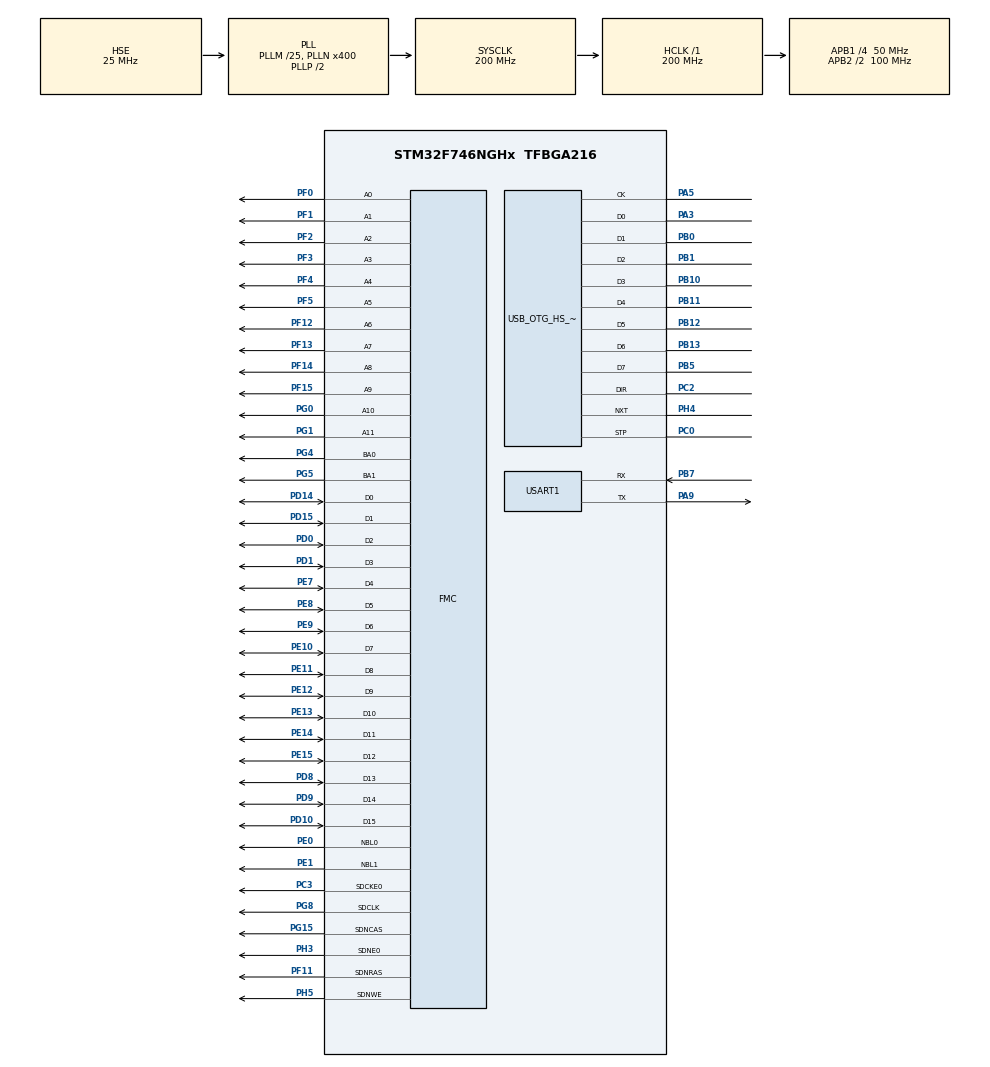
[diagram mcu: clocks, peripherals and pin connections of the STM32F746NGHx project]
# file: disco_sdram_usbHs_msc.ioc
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CORTEX_M7.ART_ACCELERATOR_ENABLE=0
CORTEX_M7.AccessPermission-Cortex_Memory_Protection_Unit_Region0_Settings=MPU_REGION_NO_ACCESS
CORTEX_M7.AccessPermission-Cortex_Memory_Protection_Unit_Region1_Settings=MPU_REGION_FULL_ACCESS
CORTEX_M7.AccessPermission-Cortex_Memory_Protection_Unit_Region2_Settings=MPU_REGION_FULL_ACCESS
CORTEX_M7.BaseAddress-Cortex_Memory_Protection_Unit_Region0_Settings=0x00
CORTEX_M7.BaseAddress-Cortex_Memory_Protection_Unit_Region1_Settings=0xC0000000
CORTEX_M7.BaseAddress-Cortex_Memory_Protection_Unit_Region2_Settings=0xA0000000
CORTEX_M7.CPU_DCache=Enabled
CORTEX_M7.CPU_ICache=Enabled
CORTEX_M7.DisableExec-Cortex_Memory_Protection_Unit_Region0_Settings=MPU_INSTRUCTION_ACCESS_DISABLE
CORTEX_M7.DisableExec-Cortex_Memory_Protection_Unit_Region1_Settings=MPU_INSTRUCTION_ACCESS_ENABLE
CORTEX_M7.DisableExec-Cortex_Memory_Protection_Unit_Region2_Settings=MPU_INSTRUCTION_ACCESS_DISABLE
CORTEX_M7.Enable-Cortex_Memory_Protection_Unit_Region0_Settings=MPU_REGION_ENABLE
CORTEX_M7.Enable-Cortex_Memory_Protection_Unit_Region1_Settings=MPU_REGION_ENABLE
CORTEX_M7.Enable-Cortex_Memory_Protection_Unit_Region2_Settings=MPU_REGION_ENABLE
CORTEX_M7.IsBufferable-Cortex_Memory_Protection_Unit_Region1_Settings=MPU_ACCESS_BUFFERABLE
CORTEX_M7.IsBufferable-Cortex_Memory_Protection_Unit_Region2_Settings=MPU_ACCESS_BUFFERABLE
CORTEX_M7.IsCacheable-Cortex_Memory_Protection_Unit_Region0_Settings=MPU_ACCESS_NOT_CACHEABLE
CORTEX_M7.IsCacheable-Cortex_Memory_Protection_Unit_Region1_Settings=MPU_ACCESS_CACHEABLE
CORTEX_M7.IsShareable-Cortex_Memory_Protection_Unit_Region0_Settings=MPU_ACCESS_SHAREABLE
CORTEX_M7.IsShareable-Cortex_Memory_Protection_Unit_Region2_Settings=MPU_ACCESS_SHAREABLE
CORTEX_M7.MPU_Control=MPU_PRIVILEGED_DEFAULT
CORTEX_M7.Size-Cortex_Memory_Protection_Unit_Region0_Settings=MPU_REGION_SIZE_4GB
CORTEX_M7.Size-Cortex_Memory_Protection_Unit_Region1_Settings=MPU_REGION_SIZE_16MB
CORTEX_M7.Size-Cortex_Memory_Protection_Unit_Region2_Settings=MPU_REGION_SIZE_8KB
CORTEX_M7.SubRegionDisable-Cortex_Memory_Protection_Unit_Region0_Settings=0x87
CORTEX_M7.SubRegionDisable-Cortex_Memory_Protection_Unit_Region1_Settings=0x00
CORTEX_M7.TypeExtField-Cortex_Memory_Protection_Unit_Region1_Settings=MPU_TEX_LEVEL1
FMC.CASLatency1=FMC_SDRAM_CAS_LATENCY_2
FMC.ExitSelfRefreshDelay1=6
FMC.LoadToActiveDelay1=2
FMC.RCDDelay1=2
FMC.RPDelay1=2
FMC.ReadBurst1=FMC_SDRAM_RBURST_ENABLE
FMC.ReadBurst2=FMC_SDRAM_RBURST_ENABLE
FMC.RowCycleDelay1=6
FMC.SDClockPeriod1=FMC_SDRAM_CLOCK_PERIOD_2
FMC.SDClockPeriod2=FMC_SDRAM_CLOCK_PERIOD_2
FMC.SelfRefreshTime1=4
FMC.WriteRecoveryTime1=2
Mcu.Family=STM32F7
Mcu.Name=STM32F746NGHx
Mcu.Package=TFBGA216
NVIC.FMC_IRQn=true\:0\:0\:false\:false\:true\:true\:true\:true
NVIC.OTG_HS_IRQn=true\:0\:0\:false\:false\:true\:false\:true\:true
NVIC.PriorityGroup=NVIC_PRIORITYGROUP_4
NVIC.TIM6_DAC_IRQn=true\:15\:0\:false\:false\:true\:false\:true\:true
NVIC.TimeBase=TIM6_DAC_IRQn
NVIC.TimeBaseIP=TIM6
NVIC.USART1_IRQn=true\:0\:0\:false\:false\:true\:true\:true\:true
PA13.Mode=Serial_Wire
PA13.Signal=SYS_JTMS-SWDIO
PA14.Mode=Serial_Wire
PA14.Signal=SYS_JTCK-SWCLK
PA3.Mode=Device_HS
PA3.Signal=USB_OTG_HS_ULPI_D0
PA5.Mode=Device_HS
PA5.Signal=USB_OTG_HS_ULPI_CK
PA9.Mode=Asynchronous
PA9.Signal=USART1_TX
PB0.Mode=Device_HS
PB0.Signal=USB_OTG_HS_ULPI_D1
PB1.Mode=Device_HS
PB1.Signal=USB_OTG_HS_ULPI_D2
PB10.Mode=Device_HS
PB10.Signal=USB_OTG_HS_ULPI_D3
PB11.Mode=Device_HS
PB11.Signal=USB_OTG_HS_ULPI_D4
PB12.Mode=Device_HS
PB12.Signal=USB_OTG_HS_ULPI_D5
PB13.Mode=Device_HS
PB13.Signal=USB_OTG_HS_ULPI_D6
PB5.Mode=Device_HS
PB5.Signal=USB_OTG_HS_ULPI_D7
PB7.Mode=Asynchronous
PB7.Signal=USART1_RX
PC0.Mode=Device_HS
PC0.Signal=USB_OTG_HS_ULPI_STP
PC14/OSC32_IN.Mode=LSE-External-Oscillator
PC14/OSC32_IN.Signal=RCC_OSC32_IN
PC15/OSC32_OUT.Mode=LSE-External-Oscillator
PC15/OSC32_OUT.Signal=RCC_OSC32_OUT
PC2.Mode=Device_HS
PC2.Signal=USB_OTG_HS_ULPI_DIR
PC3.Mode=SdramChipSelect1_1
PC3.Signal=FMC_SDCKE0
PD0.Signal=FMC_D2_DA2
PD1.Signal=FMC_D3_DA3
PD10.Signal=FMC_D15_DA15
PD14.Signal=FMC_D0_DA0
PD15.Signal=FMC_D1_DA1
PD8.Signal=FMC_D13_DA13
PD9.Signal=FMC_D14_DA14
PE0.Signal=FMC_NBL0
PE1.Signal=FMC_NBL1
PE10.Signal=FMC_D7_DA7
PE11.Signal=FMC_D8_DA8
PE12.Signal=FMC_D9_DA9
PE13.Signal=FMC_D10_DA10
PE14.Signal=FMC_D11_DA11
PE15.Signal=FMC_D12_DA12
PE7.Signal=FMC_D4_DA4
PE8.Signal=FMC_D5_DA5
PE9.Signal=FMC_D6_DA6
PF0.Signal=FMC_A0
PF1.Signal=FMC_A1
PF11.Signal=FMC_SDNRAS
PF12.Signal=FMC_A6
PF13.Signal=FMC_A7
PF14.Signal=FMC_A8
PF15.Signal=FMC_A9
PF2.Signal=FMC_A2
PF3.Signal=FMC_A3
PF4.Signal=FMC_A4
PF5.Signal=FMC_A5
PG0.Signal=FMC_A10
PG1.Signal=FMC_A11
PG15.Signal=FMC_SDNCAS
PG4.Signal=FMC_A14_BA0
PG5.Signal=FMC_A15_BA1
PG8.Signal=FMC_SDCLK
PH0/OSC_IN.Mode=HSE-External-Oscillator
PH0/OSC_IN.Signal=RCC_OSC_IN
PH1/OSC_OUT.Mode=HSE-External-Oscillator
PH1/OSC_OUT.Signal=RCC_OSC_OUT
PH3.Mode=SdramChipSelect1_1
PH3.Signal=FMC_SDNE0
PH4.Mode=Device_HS
PH4.Signal=USB_OTG_HS_ULPI_NXT
PH5.Signal=FMC_SDNWE
ProjectManager.HeapSize=0x200
ProjectManager.StackSize=0x400
ProjectManager.TargetToolchain=STM32CubeIDE
RCC.AHBFreq_Value=200000000
RCC.APB1CLKDivider=RCC_HCLK_DIV4
RCC.APB1Freq_Value=50000000
RCC.APB1TimFreq_Value=100000000
RCC.APB2CLKDivider=RCC_HCLK_DIV2
RCC.APB2Freq_Value=100000000
RCC.APB2TimFreq_Value=200000000
RCC.CortexFreq_Value=200000000
RCC.HCLKFreq_Value=200000000
RCC.HSE_VALUE=25000000
RCC.HSI_VALUE=16000000
RCC.PLL48CLockSelection=RCC_CLK48SOURCE_PLLSAIP
RCC.PLLI2SN=100
RCC.PLLM=25
RCC.PLLN=400
RCC.PLLQ=9
RCC.PLLSAIN=384
RCC.PLLSAIP=RCC_PLLSAIP_DIV8
RCC.PLLSAIR=5
RCC.PLLSAIRDiv=RCC_PLLSAIDIVR_8
RCC.PLLSourceVirtual=RCC_PLLSOURCE_HSE
RCC.SDMMCClockSelection=RCC_SDMMC1CLKSOURCE_CLK48
RCC.SYSCLKFreq_VALUE=200000000
RCC.SYSCLKSource=RCC_SYSCLKSOURCE_PLLCLK
RCC.USBFreq_Value=48000000
RCC.VCOOutputFreq_Value=400000000
SH.FMC_A0.0=FMC_A0,12b-sda1
SH.FMC_A1.0=FMC_A1,12b-sda1
SH.FMC_A10.0=FMC_A10,12b-sda1
SH.FMC_A11.0=FMC_A11,12b-sda1
SH.FMC_A14_BA0.0=FMC_BA0,FourSdramBanks1
SH.FMC_A15_BA1.0=FMC_BA1,FourSdramBanks1
SH.FMC_A2.0=FMC_A2,12b-sda1
SH.FMC_A3.0=FMC_A3,12b-sda1
SH.FMC_A4.0=FMC_A4,12b-sda1
SH.FMC_A5.0=FMC_A5,12b-sda1
SH.FMC_A6.0=FMC_A6,12b-sda1
SH.FMC_A7.0=FMC_A7,12b-sda1
SH.FMC_A8.0=FMC_A8,12b-sda1
SH.FMC_A9.0=FMC_A9,12b-sda1
SH.FMC_D0_DA0.0=FMC_D0,sd-16b-d1
SH.FMC_D10_DA10.0=FMC_D10,sd-16b-d1
SH.FMC_D11_DA11.0=FMC_D11,sd-16b-d1
SH.FMC_D12_DA12.0=FMC_D12,sd-16b-d1
SH.FMC_D13_DA13.0=FMC_D13,sd-16b-d1
SH.FMC_D14_DA14.0=FMC_D14,sd-16b-d1
SH.FMC_D15_DA15.0=FMC_D15,sd-16b-d1
SH.FMC_D1_DA1.0=FMC_D1,sd-16b-d1
SH.FMC_D2_DA2.0=FMC_D2,sd-16b-d1
SH.FMC_D3_DA3.0=FMC_D3,sd-16b-d1
SH.FMC_D4_DA4.0=FMC_D4,sd-16b-d1
SH.FMC_D5_DA5.0=FMC_D5,sd-16b-d1
SH.FMC_D6_DA6.0=FMC_D6,sd-16b-d1
SH.FMC_D7_DA7.0=FMC_D7,sd-16b-d1
SH.FMC_D8_DA8.0=FMC_D8,sd-16b-d1
SH.FMC_D9_DA9.0=FMC_D9,sd-16b-d1
SH.FMC_NBL0.0=FMC_NBL0,Sd2ByteEnable1
SH.FMC_NBL1.0=FMC_NBL1,Sd2ByteEnable1
SH.FMC_SDCLK.0=FMC_SDCLK,12b-sda1
SH.FMC_SDNCAS.0=FMC_SDNCAS,12b-sda1
SH.FMC_SDNRAS.0=FMC_SDNRAS,12b-sda1
SH.FMC_SDNWE.0=FMC_SDNWE,12b-sda1
USART1.VirtualMode-Asynchronous=VM_ASYNC
USB_DEVICE.CLASS_NAME_HS=MSC
USB_DEVICE.VirtualMode-MSC_HS=Msc
USB_DEVICE.VirtualModeHS=Msc_HS
USB_OTG_HS.VirtualMode-Device_HS=Device_HS
VP_SYS_VS_tim6.Mode=TIM6
VP_USB_DEVICE_VS_USB_DEVICE_MSC_HS.Mode=MSC_HS
board=STM32F746G-DISCO

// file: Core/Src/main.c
/* USER CODE BEGIN Header */
/**
  ******************************************************************************
  * @file           : main.c
  * @brief          : Main program body
  ******************************************************************************
  * @attention
  *
  * Copyright (c) 2025 STMicroelectronics.
  * All rights reserved.
  *
  * This software is licensed under terms that can be found in the LICENSE file
  * in the root directory of this software component.
  * If no LICENSE file comes with this software, it is provided AS-IS.
  *
  ******************************************************************************
  */
/* USER CODE END Header */
#include "main.h"
#include "usb_device.h"

/* USER CODE BEGIN Includes */
#include <stdio.h>
#include <string.h>
/* USER CODE END Includes */

UART_HandleTypeDef huart1;

SDRAM_HandleTypeDef hsdram1;

/* USER CODE BEGIN PV */
FMC_SDRAM_CommandTypeDef command;
/* USER CODE END PV */

void SystemClock_Config(void);
static void MPU_Config(void);
static void MX_GPIO_Init(void);
static void MX_FMC_Init(void);
static void MX_USART1_UART_Init(void);
/* USER CODE BEGIN PFP */
static void BSP_SDRAM_Initialization_Sequence(SDRAM_HandleTypeDef *hsdram, FMC_SDRAM_CommandTypeDef *Command);

/* USER CODE END PFP */

/* USER CODE BEGIN 0 */
int _write(int file, char *ptr, int len) {
    for (int i = 0; i < len; i++) {
        HAL_UART_Transmit(&huart1, (uint8_t *)&ptr[i], 1, HAL_MAX_DELAY);
    }
    return len;
}

/* USER CODE END 0 */

int main(void)
{

  /* MPU Configuration--------------------------------------------------------*/
  MPU_Config();

  /* Enable the CPU Cache */

  /* Enable I-Cache---------------------------------------------------------*/
  SCB_EnableICache();

  /* Enable D-Cache---------------------------------------------------------*/
  SCB_EnableDCache();

  /* MCU Configuration--------------------------------------------------------*/

  /* Reset of all peripherals, Initializes the Flash interface and the Systick. */
  HAL_Init();

  /* Configure the system clock */
  SystemClock_Config();

  /* Initialize all configured peripherals */
  MX_GPIO_Init();
  MX_FMC_Init();
  MX_USART1_UART_Init();
  MX_USB_DEVICE_Init();
  /* USER CODE BEGIN 2 */
  BSP_SDRAM_Initialization_Sequence(&hsdram1, &command);
  setvbuf(stdout, NULL, _IONBF, 0);
  printf("usbHs_msc_Sdram\r\n");

  /* USER CODE END 2 */

  /* Infinite loop */
  while (1)
  {

  }
}

void SystemClock_Config(void)
{
  RCC_OscInitTypeDef RCC_OscInitStruct = {0};
  RCC_ClkInitTypeDef RCC_ClkInitStruct = {0};

  /** Configure LSE Drive Capability
  */
  HAL_PWR_EnableBkUpAccess();

  /** Configure the main internal regulator output voltage
  */
  __HAL_RCC_PWR_CLK_ENABLE();
  __HAL_PWR_VOLTAGESCALING_CONFIG(PWR_REGULATOR_VOLTAGE_SCALE1);

  /** Initializes the RCC Oscillators according to the specified parameters
  * in the RCC_OscInitTypeDef structure.
  */
  RCC_OscInitStruct.OscillatorType = RCC_OSCILLATORTYPE_HSE;
  RCC_OscInitStruct.HSEState = RCC_HSE_ON;
  RCC_OscInitStruct.PLL.PLLState = RCC_PLL_ON;
  RCC_OscInitStruct.PLL.PLLSource = RCC_PLLSOURCE_HSE;
  RCC_OscInitStruct.PLL.PLLM = 25;
  RCC_OscInitStruct.PLL.PLLN = 400;
  RCC_OscInitStruct.PLL.PLLP = RCC_PLLP_DIV2;
  RCC_OscInitStruct.PLL.PLLQ = 9;
  if (HAL_RCC_OscConfig(&RCC_OscInitStruct) != HAL_OK)
  {
    Error_Handler();
  }

  /** Activate the Over-Drive mode
  */
  if (HAL_PWREx_EnableOverDrive() != HAL_OK)
  {
    Error_Handler();
  }

  /** Initializes the CPU, AHB and APB buses clocks
  */
  RCC_ClkInitStruct.ClockType = RCC_CLOCKTYPE_HCLK|RCC_CLOCKTYPE_SYSCLK
                              |RCC_CLOCKTYPE_PCLK1|RCC_CLOCKTYPE_PCLK2;
  RCC_ClkInitStruct.SYSCLKSource = RCC_SYSCLKSOURCE_PLLCLK;
  RCC_ClkInitStruct.AHBCLKDivider = RCC_SYSCLK_DIV1;
  RCC_ClkInitStruct.APB1CLKDivider = RCC_HCLK_DIV4;
  RCC_ClkInitStruct.APB2CLKDivider = RCC_HCLK_DIV2;

  if (HAL_RCC_ClockConfig(&RCC_ClkInitStruct, FLASH_LATENCY_6) != HAL_OK)
  {
    Error_Handler();
  }
}

static void MX_USART1_UART_Init(void)
{

  huart1.Instance = USART1;
  huart1.Init.BaudRate = 115200;
  huart1.Init.WordLength = UART_WORDLENGTH_8B;
  huart1.Init.StopBits = UART_STOPBITS_1;
  huart1.Init.Parity = UART_PARITY_NONE;
  huart1.Init.Mode = UART_MODE_TX_RX;
  huart1.Init.HwFlowCtl = UART_HWCONTROL_NONE;
  huart1.Init.OverSampling = UART_OVERSAMPLING_16;
  huart1.Init.OneBitSampling = UART_ONE_BIT_SAMPLE_DISABLE;
  huart1.AdvancedInit.AdvFeatureInit = UART_ADVFEATURE_NO_INIT;
  if (HAL_UART_Init(&huart1) != HAL_OK)
  {
    Error_Handler();
  }

}

/* FMC initialization function */
static void MX_FMC_Init(void)
{

  FMC_SDRAM_TimingTypeDef SdramTiming = {0};

  /** Perform the SDRAM1 memory initialization sequence
  */
  hsdram1.Instance = FMC_SDRAM_DEVICE;
  /* hsdram1.Init */
  hsdram1.Init.SDBank = FMC_SDRAM_BANK1;
  hsdram1.Init.ColumnBitsNumber = FMC_SDRAM_COLUMN_BITS_NUM_8;
  hsdram1.Init.RowBitsNumber = FMC_SDRAM_ROW_BITS_NUM_12;
  hsdram1.Init.MemoryDataWidth = FMC_SDRAM_MEM_BUS_WIDTH_16;
  hsdram1.Init.InternalBankNumber = FMC_SDRAM_INTERN_BANKS_NUM_4;
  hsdram1.Init.CASLatency = FMC_SDRAM_CAS_LATENCY_2;
  hsdram1.Init.WriteProtection = FMC_SDRAM_WRITE_PROTECTION_DISABLE;
  hsdram1.Init.SDClockPeriod = FMC_SDRAM_CLOCK_PERIOD_2;
  hsdram1.Init.ReadBurst = FMC_SDRAM_RBURST_ENABLE;
  hsdram1.Init.ReadPipeDelay = FMC_SDRAM_RPIPE_DELAY_0;
  /* SdramTiming */
  SdramTiming.LoadToActiveDelay = 2;
  SdramTiming.ExitSelfRefreshDelay = 6;
  SdramTiming.SelfRefreshTime = 4;
  SdramTiming.RowCycleDelay = 6;
  SdramTiming.WriteRecoveryTime = 2;
  SdramTiming.RPDelay = 2;
  SdramTiming.RCDDelay = 2;

  if (HAL_SDRAM_Init(&hsdram1, &SdramTiming) != HAL_OK)
  {
    Error_Handler( );
  }

}

static void MX_GPIO_Init(void)
{

  /* GPIO Ports Clock Enable */
  __HAL_RCC_GPIOE_CLK_ENABLE();
  __HAL_RCC_GPIOB_CLK_ENABLE();
  __HAL_RCC_GPIOA_CLK_ENABLE();
  __HAL_RCC_GPIOG_CLK_ENABLE();
  __HAL_RCC_GPIOD_CLK_ENABLE();
  __HAL_RCC_GPIOF_CLK_ENABLE();
  __HAL_RCC_GPIOC_CLK_ENABLE();
  __HAL_RCC_GPIOH_CLK_ENABLE();

}

/* USER CODE BEGIN 4 */

/**
  * @brief  Perform the SDRAM external memory initialization sequence
  * @param  hsdram: SDRAM handle
  * @param  Command: Pointer to SDRAM command structure
  * @retval None
  */
static void BSP_SDRAM_Initialization_Sequence(SDRAM_HandleTypeDef *hsdram, FMC_SDRAM_CommandTypeDef *Command)
{
  __IO uint32_t tmpmrd =0;
  /* Step 3:  Configure a clock configuration enable command */
  Command->CommandMode = FMC_SDRAM_CMD_CLK_ENABLE;
  Command->CommandTarget = FMC_SDRAM_CMD_TARGET_BANK1;
  Command->AutoRefreshNumber = 1;
  Command->ModeRegisterDefinition = 0;

  /* Send the command */
  HAL_SDRAM_SendCommand(hsdram, Command, SDRAM_TIMEOUT);

  /* Step 4: Insert 100 us minimum delay */
  /* Inserted delay is equal to 1 ms due to systick time base unit (ms) */
  HAL_Delay(1);

  /* Step 5: Configure a PALL (precharge all) command */
  Command->CommandMode = FMC_SDRAM_CMD_PALL;
  Command->CommandTarget = FMC_SDRAM_CMD_TARGET_BANK1;
  Command->AutoRefreshNumber = 1;
  Command->ModeRegisterDefinition = 0;

  /* Send the command */
  HAL_SDRAM_SendCommand(hsdram, Command, SDRAM_TIMEOUT);

  /* Step 6 : Configure a Auto-Refresh command */
  Command->CommandMode = FMC_SDRAM_CMD_AUTOREFRESH_MODE;
  Command->CommandTarget = FMC_SDRAM_CMD_TARGET_BANK1;
  Command->AutoRefreshNumber = 8;
  Command->ModeRegisterDefinition = 0;

  /* Send the command */
  HAL_SDRAM_SendCommand(hsdram, Command, SDRAM_TIMEOUT);

  /* Step 7: Program the external memory mode register */
  tmpmrd = (uint32_t)SDRAM_MODEREG_BURST_LENGTH_1          |
                     SDRAM_MODEREG_BURST_TYPE_SEQUENTIAL   |
                     SDRAM_MODEREG_CAS_LATENCY_2           |
                     SDRAM_MODEREG_OPERATING_MODE_STANDARD |
                     SDRAM_MODEREG_WRITEBURST_MODE_SINGLE;

  Command->CommandMode = FMC_SDRAM_CMD_LOAD_MODE;
  Command->CommandTarget = FMC_SDRAM_CMD_TARGET_BANK1;
  Command->AutoRefreshNumber = 1;
  Command->ModeRegisterDefinition = tmpmrd;

  /* Send the command */
  HAL_SDRAM_SendCommand(hsdram, Command, SDRAM_TIMEOUT);

  /* Step 8: Set the refresh rate counter */
  /* (15.62 us x Freq) - 20 */
  /* Set the device refresh counter */
  hsdram->Instance->SDRTR |= ((uint32_t)((1292)<< 1));

}

/* USER CODE END 4 */

 /* MPU Configuration */

void MPU_Config(void)
{
  MPU_Region_InitTypeDef MPU_InitStruct = {0};

  /* Disables the MPU */
  HAL_MPU_Disable();

  /** Initializes and configures the Region and the memory to be protected
  */
  MPU_InitStruct.Enable = MPU_REGION_ENABLE;
  MPU_InitStruct.Number = MPU_REGION_NUMBER0;
  MPU_InitStruct.BaseAddress = 0x00;
  MPU_InitStruct.Size = MPU_REGION_SIZE_4GB;
  MPU_InitStruct.SubRegionDisable = 0x87;
  MPU_InitStruct.TypeExtField = MPU_TEX_LEVEL0;
  MPU_InitStruct.AccessPermission = MPU_REGION_NO_ACCESS;
  MPU_InitStruct.DisableExec = MPU_INSTRUCTION_ACCESS_DISABLE;
  MPU_InitStruct.IsShareable = MPU_ACCESS_SHAREABLE;
  MPU_InitStruct.IsCacheable = MPU_ACCESS_NOT_CACHEABLE;
  MPU_InitStruct.IsBufferable = MPU_ACCESS_NOT_BUFFERABLE;

  HAL_MPU_ConfigRegion(&MPU_InitStruct);

  /** Initializes and configures the Region and the memory to be protected
  */
  MPU_InitStruct.Number = MPU_REGION_NUMBER1;
  MPU_InitStruct.BaseAddress = 0xC0000000;
  MPU_InitStruct.Size = MPU_REGION_SIZE_16MB;
  MPU_InitStruct.SubRegionDisable = 0x00;
  MPU_InitStruct.TypeExtField = MPU_TEX_LEVEL1;
  MPU_InitStruct.AccessPermission = MPU_REGION_FULL_ACCESS;
  MPU_InitStruct.DisableExec = MPU_INSTRUCTION_ACCESS_ENABLE;
  MPU_InitStruct.IsShareable = MPU_ACCESS_NOT_SHAREABLE;
  MPU_InitStruct.IsCacheable = MPU_ACCESS_CACHEABLE;
  MPU_InitStruct.IsBufferable = MPU_ACCESS_BUFFERABLE;

  HAL_MPU_ConfigRegion(&MPU_InitStruct);

  /** Initializes and configures the Region and the memory to be protected
  */
  MPU_InitStruct.Number = MPU_REGION_NUMBER2;
  MPU_InitStruct.BaseAddress = 0xA0000000;
  MPU_InitStruct.Size = MPU_REGION_SIZE_8KB;
  MPU_InitStruct.SubRegionDisable = 0x0;
  MPU_InitStruct.TypeExtField = MPU_TEX_LEVEL0;
  MPU_InitStruct.DisableExec = MPU_INSTRUCTION_ACCESS_DISABLE;
  MPU_InitStruct.IsShareable = MPU_ACCESS_SHAREABLE;
  MPU_InitStruct.IsCacheable = MPU_ACCESS_NOT_CACHEABLE;

  HAL_MPU_ConfigRegion(&MPU_InitStruct);
  /* Enables the MPU */
  HAL_MPU_Enable(MPU_PRIVILEGED_DEFAULT);

}

void HAL_TIM_PeriodElapsedCallback(TIM_HandleTypeDef *htim)
{
  if (htim->Instance == TIM6) {
    HAL_IncTick();
  }
}

void Error_Handler(void)
{
  __disable_irq();
  while (1)
  {
  }
}
